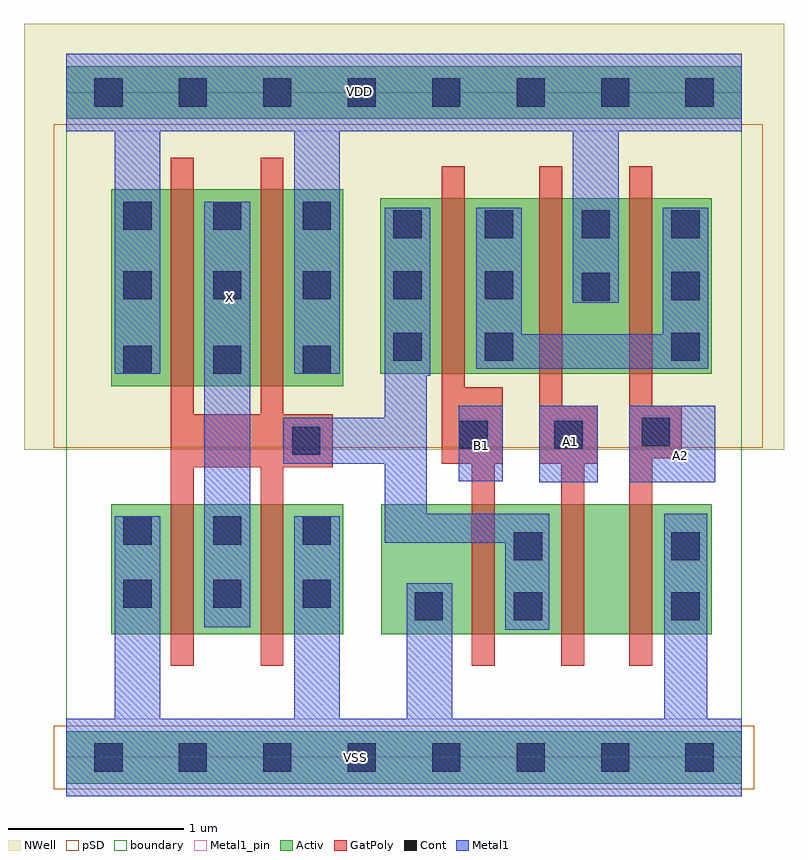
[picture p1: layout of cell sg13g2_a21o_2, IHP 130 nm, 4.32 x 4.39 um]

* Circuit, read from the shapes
.subckt sg13g2_a21o_2 A1 A2 B1 VDD VSS X
XM1 X n1 VSS VSS sg13_lv_nmos w=0.74u l=0.13u m=2
XM2 n1 B1 VSS VSS sg13_lv_nmos w=0.74u l=0.13u
XM3 n2 A1 n1 VSS sg13_lv_nmos w=0.74u l=0.13u
XM4 VSS A2 n2 VSS sg13_lv_nmos w=0.74u l=0.13u
XM5 X n1 VDD VDD sg13_lv_pmos w=1.12u l=0.13u m=2
XM6 n3 B1 n1 VDD sg13_lv_pmos w=1u l=0.13u
XM7 VDD A1 n3 VDD sg13_lv_pmos w=1u l=0.13u
XM8 n3 A2 VDD VDD sg13_lv_pmos w=1u l=0.13u
.ends

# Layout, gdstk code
import gdstk
lib = gdstk.Library(unit=1e-6, precision=1e-09)
def R(c, l, rs):  # rectangles x0, y0, x1, y1
    for r in rs: c.add(gdstk.rectangle(r[:2], r[2:], *l))
def A(c, l, x, y, w, h, nx, ny, dx, dy):  # array of equal rectangles
    R(c, l, [(x+i*dx, y+j*dy, x+i*dx+w, y+j*dy+h) for i in range(nx) for j in range(ny)])
def P(c, l, *ps):  # polygons
    for p in ps: c.add(gdstk.Polygon(p, *l))
Activ = (1, 0)
GatPoly = (5, 0)
Cont = (6, 0)
Metal1 = (8, 0)
Metal1_pin = (8, 2)
pSD = (14, 0)
NWell = (31, 0)
boundary = (189, 4)

sg13g2_a21o_2 = lib.new_cell('sg13g2_a21o_2')
R(sg13g2_a21o_2, Activ, [(0,-0.15,3.84,0.15), (0.255,0.7,1.575,1.44), (1.79,0.7,3.67,1.44), (0.255,2.11,1.575,3.23), (1.785,2.18,3.67,3.18), (0,3.63,3.84,3.93)])
P(sg13g2_a21o_2, GatPoly, [(3.2,0.52),(3.2,3.36),(3.33,3.36),(3.33,2),(3.5,2),(3.5,1.7),(3.33,1.7),(3.33,0.52)],
  [(2.815,0.52),(2.815,1.67),(2.69,1.67),(2.69,3.36),(2.82,3.36),(2.82,2),(3.02,2),(3.02,1.67),(2.945,1.67),(2.945,0.52)],
  [(2.305,0.52),(2.305,1.67),(2.135,1.67),(2.135,3.36),(2.265,3.36),(2.265,2.105),(2.48,2.105),(2.48,1.67),(2.435,1.67),(2.435,0.52)],
  [(0.595,0.52),(0.595,3.41),(0.725,3.41),(0.725,1.95),(1.105,1.95),(1.105,3.41),(1.235,3.41),(1.235,1.95),(1.515,1.95),(1.515,1.65),(1.235,1.65),(1.235,0.52),(1.105,0.52),(1.105,1.65),(0.725,1.65),(0.725,0.52)])
A(sg13g2_a21o_2, Cont, 0.16, -0.08, 0.16, 0.16, 8, 2, 0.48, 3.78)
A(sg13g2_a21o_2, Cont, 0.325, 0.85, 0.16, 0.16, 3, 2, 0.51, 0.36)
A(sg13g2_a21o_2, Cont, 0.325, 2.18, 0.16, 0.16, 3, 2, 0.51, 0.425)
A(sg13g2_a21o_2, Cont, 0.325, 3, 0.16, 0.16, 3, 1, 0.51, 0)
R(sg13g2_a21o_2, Cont, [(1.98,0.78,2.14,0.94), (2.545,0.78,2.705,0.94), (3.44,0.78,3.6,0.94), (2.545,1.12,2.705,1.28), (3.44,1.12,3.6,1.28), (1.285,1.72,1.445,1.88), (2.235,1.755,2.395,1.915), (2.775,1.755,2.935,1.915), (3.27,1.77,3.43,1.93), (1.86,2.255,2.02,2.415), (2.38,2.255,2.54,2.415), (3.44,2.255,3.6,2.415), (2.93,2.595,3.09,2.755), (3.44,2.6,3.6,2.76), (1.86,2.605,2.02,2.765), (2.38,2.605,2.54,2.765), (1.86,2.95,2.02,3.11), (2.38,2.95,2.54,3.11), (2.93,2.95,3.09,3.11), (3.44,2.95,3.6,3.11)])
R(sg13g2_a21o_2, Metal1, [(0.785,0.74,1.045,3.16), (2.69,1.565,3.02,2), (3.2,1.565,3.69,2), (2.23,1.57,2.48,2), (2.88,2.585,3.14,3.56)])
P(sg13g2_a21o_2, Metal1, [(0,-0.22),(0,0.22),(0.275,0.22),(0.275,1.37),(0.535,1.37),(0.535,0.22),(1.295,0.22),(1.295,1.37),(1.555,1.37),(1.555,0.22),(1.935,0.22),(1.935,0.99),(2.195,0.99),(2.195,0.22),(3.4,0.22),(3.4,1.385),(3.645,1.385),(3.645,0.22),(3.84,0.22),(3.84,-0.22)],
  [(0.275,2.18),(0.275,3.56),(0,3.56),(0,4),(3.84,4),(3.84,3.56),(1.555,3.56),(1.555,2.18),(1.295,2.18),(1.295,3.56),(0.535,3.56),(0.535,2.18)],
  [(2.33,2.21),(2.33,3.125),(2.59,3.125),(2.59,2.405),(3.39,2.405),(3.39,3.125),(3.65,3.125),(3.65,2.21)],
  [(2.495,0.725),(2.495,1.22),(1.81,1.22),(1.81,1.67),(1.235,1.67),(1.235,1.93),(1.81,1.93),(1.81,3.125),(2.07,3.125),(2.07,2.17),(2.05,2.17),(2.05,1.385),(2.745,1.385),(2.745,0.725)])
R(sg13g2_a21o_2, Metal1_pin, [(0,-0.22,3.84,0.22), (0.785,0.74,1.045,3.16), (2.69,1.565,3.02,2), (3.2,1.565,3.69,2), (2.23,1.57,2.48,2), (0,3.56,3.84,4)])
R(sg13g2_a21o_2, pSD, [(-0.07,-0.18,3.91,0.18), (-0.07,1.76,3.96,3.6)])
R(sg13g2_a21o_2, NWell, [(-0.24,1.75,4.08,4.17)])
R(sg13g2_a21o_2, boundary, [(0,0,3.84,3.78)])
sg13g2_a21o_2.add(gdstk.Label('B1', (2.36,1.775), layer=8, texttype=25))
sg13g2_a21o_2.add(gdstk.Label('X', (0.93,2.615), layer=8, texttype=25))
sg13g2_a21o_2.add(gdstk.Label('VDD', (1.665,3.785), layer=8, texttype=25))
sg13g2_a21o_2.add(gdstk.Label('VSS', (1.645,0), layer=8, texttype=25))
sg13g2_a21o_2.add(gdstk.Label('A1', (2.865,1.795), layer=8, texttype=25))
sg13g2_a21o_2.add(gdstk.Label('A2', (3.49,1.715), layer=8, texttype=25))

lib.write_gds('sg13g2_a21o_2.gds')
